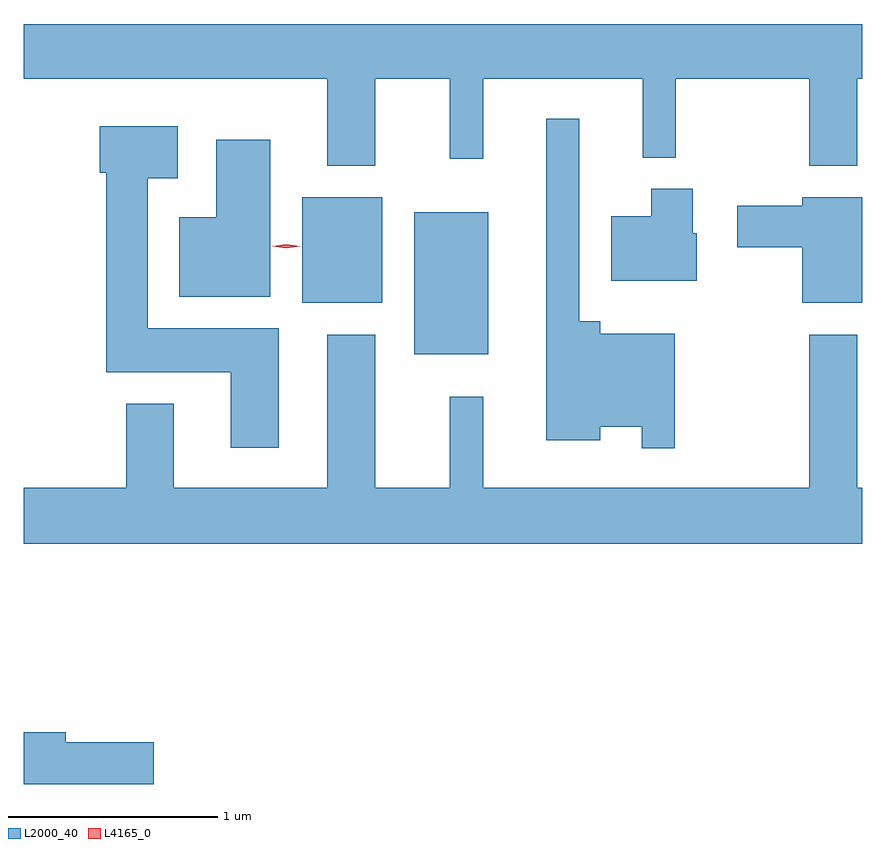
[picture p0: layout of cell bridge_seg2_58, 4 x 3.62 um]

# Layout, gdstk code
import gdstk
lib = gdstk.Library(unit=1e-6, precision=1e-09)
def R(c, l, rs):  # rectangles x0, y0, x1, y1
    for r in rs: c.add(gdstk.rectangle(r[:2], r[2:], *l))
def P(c, l, *ps):  # polygons
    for p in ps: c.add(gdstk.Polygon(p, *l))
L2000_40 = (2000, 40)
L4165_0 = (4165, 0)

bridge_seg2_58 = lib.new_cell('bridge_seg2_58')
R(bridge_seg2_58, L2000_40, [(1286.806,1066.981,1287.159,1067.659), (1286.271,1067.226,1286.654,1067.729)])
P(bridge_seg2_58, L2000_40, [(1286.619,1068.296),(1286.976,1068.296),(1286.976,1067.913),(1287.134,1067.913),(1287.134,1068.296),(1287.896,1068.296),(1287.896,1067.918),(1288.054,1067.918),(1288.054,1068.296),(1288.691,1068.296),(1288.691,1067.881),(1288.919,1067.881),(1288.919,1068.296),(1288.943,1068.296),(1288.943,1068.556),(1284.943,1068.556),(1284.943,1068.296),(1286.391,1068.296),(1286.391,1067.881),(1286.619,1067.881)],
  [(1288.049,1067.079),(1287.694,1067.079),(1287.694,1067.139),(1287.594,1067.139),(1287.594,1068.103),(1287.436,1068.103),(1287.436,1066.571),(1287.694,1066.571),(1287.694,1066.636),(1287.891,1066.636),(1287.891,1066.533),(1288.049,1066.533)],
  [(1286.159,1067.104),(1285.534,1067.104),(1285.534,1067.821),(1285.679,1067.821),(1285.679,1068.069),(1285.306,1068.069),(1285.306,1067.846),(1285.336,1067.846),(1285.336,1066.896),(1285.931,1066.896),(1285.931,1066.536),(1286.159,1066.536)],
  [(1286.119,1068.004),(1285.861,1068.004),(1285.861,1067.634),(1285.686,1067.634),(1285.686,1067.256),(1286.119,1067.256)],
  [(1288.154,1067.559),(1288.134,1067.559),(1288.134,1067.769),(1287.936,1067.769),(1287.936,1067.639),(1287.746,1067.639),(1287.746,1067.331),(1288.154,1067.331)],
  [(1288.943,1067.729),(1288.656,1067.729),(1288.656,1067.689),(1288.346,1067.689),(1288.346,1067.491),(1288.656,1067.491),(1288.656,1067.226),(1288.943,1067.226)],
  [(1288.943,1066.344),(1288.919,1066.344),(1288.919,1067.074),(1288.691,1067.074),(1288.691,1066.344),(1287.134,1066.344),(1287.134,1066.778),(1286.976,1066.778),(1286.976,1066.344),(1286.619,1066.344),(1286.619,1067.074),(1286.391,1067.074),(1286.391,1066.344),(1285.659,1066.344),(1285.659,1066.744),(1285.431,1066.744),(1285.431,1066.344),(1284.943,1066.344),(1284.943,1066.076),(1288.943,1066.076)],
  [(1285.564,1065.129),(1285.144,1065.129),(1285.144,1065.179),(1284.943,1065.179),(1284.943,1064.931),(1285.564,1064.931)])
P(bridge_seg2_58, L4165_0, [(1286.195,1067.486),(1286.129,1067.496),(1286.128,1067.497),(1286.129,1067.497),(1286.195,1067.506),(1286.262,1067.496),(1286.262,1067.496),(1286.262,1067.495)])

lib.write_gds('bridge_seg2_58.gds')
